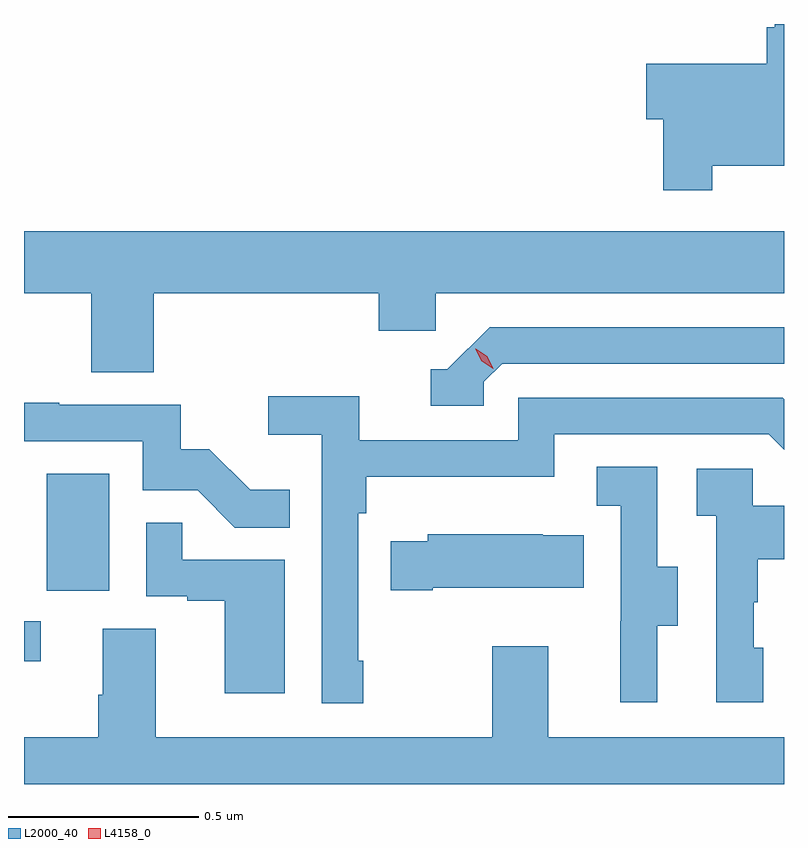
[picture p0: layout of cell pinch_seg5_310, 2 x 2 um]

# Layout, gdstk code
import gdstk
lib = gdstk.Library(unit=1e-6, precision=1e-09)
def R(c, l, rs):  # rectangles x0, y0, x1, y1
    for r in rs: c.add(gdstk.rectangle(r[:2], r[2:], *l))
def P(c, l, *ps):  # polygons
    for p in ps: c.add(gdstk.Polygon(p, *l))
L2000_40 = (2000, 40)
L4158_0 = (4158, 0)

pinch_seg5_310 = lib.new_cell('pinch_seg5_310')
R(pinch_seg5_310, L2000_40, [(888.314,878.436,888.358,878.541), (888.374,878.622,888.538,878.929)])
P(pinch_seg5_310, L2000_40, [(890.125,879.74),(890.314,879.74),(890.314,880.113),(890.289,880.113),(890.289,880.105),(890.269,880.105),(890.269,880.009),(889.952,880.009),(889.952,879.862),(889.996,879.862),(889.996,879.675),(890.125,879.675)],
  [(888.656,879.404),(889.247,879.404),(889.247,879.306),(889.398,879.306),(889.398,879.404),(890.314,879.404),(890.314,879.568),(888.314,879.568),(888.314,879.404),(888.491,879.404),(888.491,879.196),(888.656,879.196)],
  [(889.524,879.171),(889.572,879.219),(890.314,879.219),(890.314,879.315),(889.539,879.315),(889.428,879.204),(889.385,879.204),(889.385,879.108),(889.524,879.108)],
  [(889.207,878.437),(889.194,878.437),(889.194,878.825),(889.214,878.825),(889.214,878.921),(889.71,878.921),(889.71,879.033),(890.274,879.033),(890.314,878.993),(890.314,879.126),(890.311,879.129),(889.614,879.129),(889.614,879.018),(889.196,879.018),(889.196,879.134),(888.957,879.134),(888.957,879.032),(889.098,879.032),(889.098,878.325),(889.207,878.325)],
  [(889.013,878.887),(888.909,878.887),(888.802,878.994),(888.726,878.994),(888.726,879.111),(888.407,879.111),(888.407,879.116),(888.314,879.116),(888.314,879.015),(888.627,879.015),(888.627,878.886),(888.771,878.886),(888.869,878.788),(889.013,878.788)],
  [(889.981,878.53),(890.035,878.53),(890.035,878.685),(889.98,878.685),(889.98,878.948),(889.821,878.948),(889.821,878.845),(889.884,878.845),(889.884,878.541),(889.883,878.541),(889.883,878.328),(889.981,878.328)],
  [(890.26,878.472),(890.235,878.472),(890.235,878.591),(890.245,878.591),(890.245,878.705),(890.314,878.705),(890.314,878.845),(890.232,878.845),(890.232,878.943),(890.085,878.943),(890.085,878.819),(890.136,878.819),(890.136,878.328),(890.26,878.328)],
  [(889,878.703),(888.731,878.703),(888.731,878.801),(888.636,878.801),(888.636,878.607),(888.743,878.607),(888.743,878.595),(888.842,878.595),(888.842,878.352),(889,878.352)],
  [(889.39,878.63),(889.787,878.63),(889.787,878.767),(889.679,878.767),(889.679,878.77),(889.377,878.77),(889.377,878.752),(889.279,878.752),(889.279,878.623),(889.39,878.623)],
  [(890.314,878.236),(889.693,878.236),(889.693,878.476),(889.546,878.476),(889.546,878.236),(888.661,878.236),(888.661,878.522),(888.521,878.522),(888.521,878.348),(888.509,878.348),(888.509,878.236),(888.314,878.236),(888.314,878.113),(890.314,878.113)])
P(pinch_seg5_310, L4158_0, [(889.549,879.206),(889.518,879.226),(889.502,879.258),(889.502,879.258),(889.503,879.258),(889.533,879.239),(889.549,879.206),(889.549,879.206)])

lib.write_gds('pinch_seg5_310.gds')
